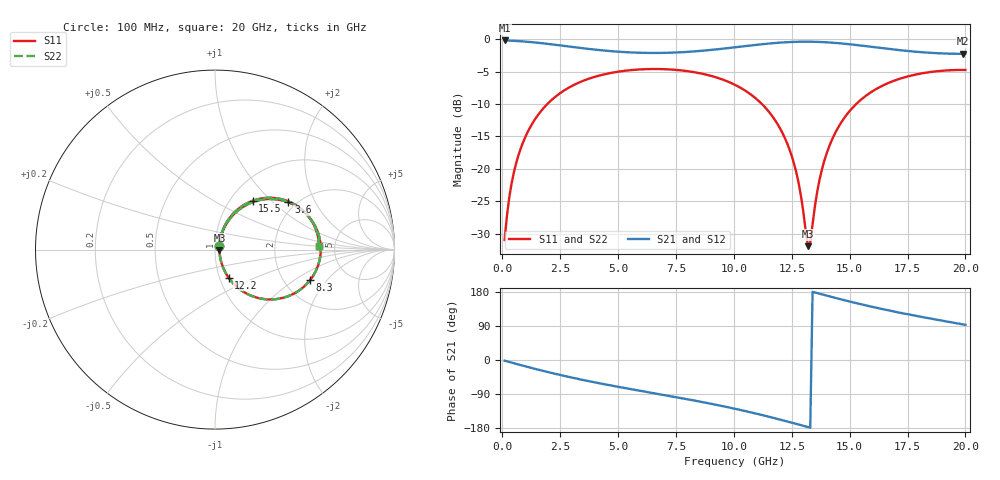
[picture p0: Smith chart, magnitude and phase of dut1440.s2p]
! Touchstone file exported from HFSS 2026.1.0
!  File:  C:/ffzhzh/LocalFiles/Ansys_Project_Files/temp_train_TSV_RDL_1440_1783357139_37376.aedt
!  Generated:  01:13:58 AM Jul  7, 2026
!  Design:  TSV_RDL
!  Project:  temp_train_TSV_RDL_1440_1783357139_37376
! Variables:
!  h_bsmrdl = 2.12um
!  h_ox = 20um
!  h_rdl = 5um
!  h_sub = 58.09um
!  h_tmrdl = 5.4um
!  h_tsv = 58.09um
!  h_via = 3um
!  l_bsmrdl = 591.89um
!  l_sub = 4795.9um
!  l_tmrdl = 620.4um
!  m_sub = 200um
!  pitch = 56.37um
!  r_tsv = 7.1um
!  s_tmrdl = 10um
!  w_bsmrdl = 26.14um
!  w_sub = 500um
!  w_tmrdl = 20.07um
!  x_tsv_center1 = 630.435um
!  x_tsv_center2 = 1248.465um
!  x_tsv_center3 = 1888.935um
!  x_tsv_center4 = 2506.965um
!  x_tsv_center5 = 3147.435um
!  x_tsv_center6 = 3765.465um
# GHz S MA R 50.000000
! Terminal data exported
! Port[1] = TM_RDL1_1_T1
! Port[2] = TM_RDL5_1_T1
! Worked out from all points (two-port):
!   200 points, 100 MHz to 20 GHz, reference 50 ohm
!   highest |S21| = -0.18 dB at 100 MHz (marker M1); lowest = -2.2 dB at 19.9 GHz (marker M2)
!   |S21| within 3 dB of the highest: start of sweep to end of sweep
!   lowest |S11| = -31.9 dB at 13.2 GHz (marker M3), VSWR 1.05, Z = 52.5 - j0.527 ohm
!   |S11| at or under -10 dB: start of sweep to 1.944 GHz; 11.21 GHz to 15.28 GHz (4.069 GHz wide, 30.7 % of centre)
!   |S22| runs from -32.0 to -4.6 dB; largest |S21 - S12| = 1.7e-14
!   S11 on the Smith chart (normalised r, x): 100 MHz: 1.04, +0.04; 3.6 GHz: 1.82, +1.26; 8.3 GHz: 2.77, -1.36; 12.2 GHz: 1.10, -0.36; 15.5 GHz: 1.26, +0.78; 20 GHz: 3.75, +0.23
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0.1  0.02828 40.7  0.9789 -1.8  0.9789 -1.8  0.02828 40.7
! Gamma 0 0 0 0
! Port Impedance 50 0 50 0
0.3  0.06008 63.0  0.9761 -5.2  0.9761 -5.2  0.06007 63.0
0.5  0.09398 67.0  0.9724 -8.5  0.9724 -8.5  0.09398 67.0
1.1  0.1931 64.1  0.956 -18.4  0.956 -18.4  0.1931 64.1
2.1  0.3365 51.7  0.915 -33.8  0.915 -33.8  0.3365 51.7
3.5  0.4786 34.0  0.8514 -52.9  0.8514 -52.9  0.4786 34.0
3.6  0.4862 32.8  0.8473 -54.1  0.8473 -54.1  0.4862 32.8
6.8  0.589 -1.9  0.7842 -90.4  0.7842 -90.4  0.589 -1.9
8.3  0.5567 -17.8  0.8061 -107.1  0.8061 -107.1  0.5567 -17.8
10.1  0.4404 -38.7  0.8689 -129.4  0.8689 -129.4  0.4404 -38.7
11.3  0.305 -54.0  0.9187 -146.5  0.9187 -146.5  0.305 -54.0
12.2  0.1736 -64.2  0.9472 -160.5  0.9472 -160.5  0.1735 -64.2
12.8  0.07747 -63.3  0.9568 -170.3  0.9568 -170.3  0.0774 -63.5
13.2  0.02534 -11.4  0.958 -176.9  0.958 -176.9  0.02504 -11.6
13.3  0.02711 24.5  0.9577 -178.5  0.9577 -178.5  0.02682 24.8
13.4  0.03745 47.3  0.957 179.8  0.957 179.8  0.03722 47.6
13.7  0.08238 66.2  0.9534 174.9  0.9534 174.9  0.08225 66.5
14.1  0.1461 67.6  0.9451 168.4  0.9451 168.4  0.1461 67.8
15.5  0.343 52.4  0.8938 147.0  0.8938 147.0  0.3429 52.4
16.7  0.462 37.6  0.8418 130.7  0.8418 130.7  0.462 37.7
19.9  0.58 3.0  0.7719 93.9  0.7719 93.9  0.5799 3.1
20  0.5798 2.0  0.772 92.8  0.772 92.8  0.5798 2.1
